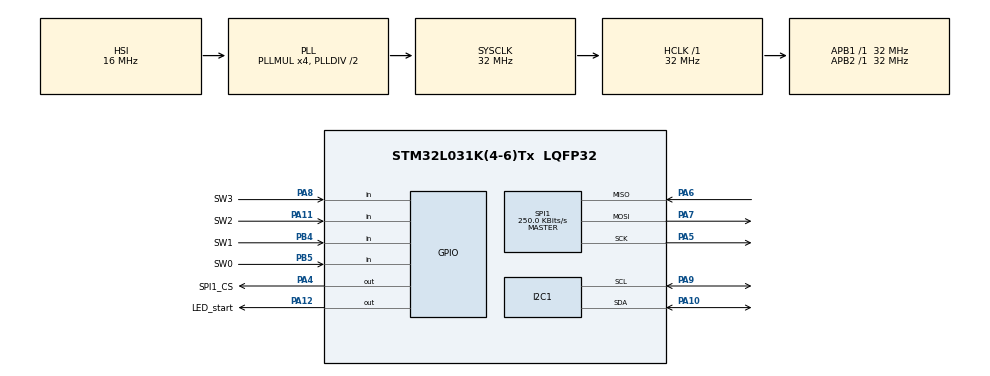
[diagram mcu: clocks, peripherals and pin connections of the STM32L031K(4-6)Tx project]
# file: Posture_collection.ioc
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I2C1.Timing=0x00B07CB4
Mcu.Family=STM32L0
Mcu.Name=STM32L031K(4-6)Tx
Mcu.Package=LQFP32
NVIC.TIM22_IRQn=true\:0\:0\:false\:false\:true\:true\:true\:true
PA10.Mode=I2C
PA10.Signal=I2C1_SDA
PA11.GPIO_Label=SW2
PA11.Signal=GPIO_Input
PA12.GPIO_Label=LED_start
PA12.GPIO_Speed=GPIO_SPEED_FREQ_MEDIUM
PA12.PinState=GPIO_PIN_RESET
PA12.Signal=GPIO_Output
PA13.Mode=Serial_Wire
PA13.Signal=SYS_SWDIO
PA14.Mode=Serial_Wire
PA14.Signal=SYS_SWCLK
PA4.GPIO_Label=SPI1_CS
PA4.GPIO_PuPd=GPIO_PULLUP
PA4.GPIO_Speed=GPIO_SPEED_FREQ_HIGH
PA4.PinState=GPIO_PIN_SET
PA4.Signal=GPIO_Output
PA5.Mode=Full_Duplex_Master
PA5.Signal=SPI1_SCK
PA6.Mode=Full_Duplex_Master
PA6.Signal=SPI1_MISO
PA7.Mode=Full_Duplex_Master
PA7.Signal=SPI1_MOSI
PA8.GPIO_Label=SW3
PA8.GPIO_PuPd=GPIO_NOPULL
PA8.Signal=GPIO_Input
PA9.Mode=I2C
PA9.Signal=I2C1_SCL
PB4.GPIO_Label=SW1
PB4.Signal=GPIO_Input
PB5.GPIO_Label=SW0
PB5.Signal=GPIO_Input
ProjectManager.HeapSize=0x200
ProjectManager.StackSize=0x400
ProjectManager.TargetToolchain=STM32CubeIDE
RCC.AHBFreq_Value=32000000
RCC.APB1Freq_Value=32000000
RCC.APB1TimFreq_Value=32000000
RCC.APB2Freq_Value=32000000
RCC.APB2TimFreq_Value=32000000
RCC.HCLKFreq_Value=32000000
RCC.HSE_VALUE=8000000
RCC.HSI16_VALUE=16000000
RCC.HSI_VALUE=16000000
RCC.LSE_VALUE=32768
RCC.MSI_VALUE=2097000
RCC.PLLMUL=RCC_PLLMUL_4
RCC.SYSCLKFreq_VALUE=32000000
RCC.SYSCLKSource=RCC_SYSCLKSOURCE_PLLCLK
RCC.VCOOutputFreq_Value=64000000
SPI1.BaudRatePrescaler=SPI_BAUDRATEPRESCALER_128
SPI1.CalculateBaudRate=250.0 KBits/s
SPI1.Direction=SPI_DIRECTION_2LINES
SPI1.Mode=SPI_MODE_MASTER
SPI1.VirtualType=VM_MASTER
TIM22.AutoReloadPreload=TIM_AUTORELOAD_PRELOAD_ENABLE
TIM22.Period=999
TIM22.Prescaler=3199
VP_FATFS_VS_Generic.Mode=User_defined
VP_TIM22_VS_ClockSourceINT.Mode=Internal
board=custom

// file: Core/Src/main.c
/* USER CODE BEGIN Header */
/**
  ******************************************************************************
  * @file           : main.c
  * @brief          : Main program body
  ******************************************************************************
  * @attention
  *
  * Copyright (c) 2026 STMicroelectronics.
  * All rights reserved.
  *
  * This software is licensed under terms that can be found in the LICENSE file
  * in the root directory of this software component.
  * If no LICENSE file comes with this software, it is provided AS-IS.
  *
  ******************************************************************************
  */
/* USER CODE END Header */
#include "main.h"
#include "fatfs.h"

/* USER CODE BEGIN Includes */
#include "MPU6050.h"
#include "state_control.h"
/* USER CODE END Includes */

/* USER CODE BEGIN PD */
#define BUFFER_SIZE 29 //timespand: 4, 2 MPU: 2*6*2, posture code: 1
/* USER CODE END PD */

I2C_HandleTypeDef hi2c1;

SPI_HandleTypeDef hspi1;

TIM_HandleTypeDef htim22;

/* USER CODE BEGIN PV */
//TODO: định nghĩa thêm các file cho các state (nên ghi ra state làm cái gì rồi code service)
//state INIT: init SD, init MPU, init tim22, init_state, memset buffer, LED_start OFF
//state START: Bật LED start
//state IDLE: đọc SW3 (đầu while rồi), chờ dataflag (Interrupt callback), đọc SW[2..0]
//state DATA: clear data_flag, đọc 2 MPU, packetnization
//state SD_write: ghi dữ liệu xuống file POSTURE.bin, packet count ++, nếu packet count >= 50 thì f_sync và packet_count = 0;
//state STOP: tắt LED_start, thực hiện close_file
system_state_t system_state;
system_input_t system_input;
MPU6050_Data_t mpu_low_data;
MPU6050_Data_t mpu_high_data;
uint8_t stop_done = 0;
uint8_t posture_code;
uint8_t sd_buffer[BUFFER_SIZE];
FATFS FatFs;
FIL fil;
UINT bytes_written = 0;
uint8_t packet_count = 0;
//STATE defined function
void system_init();
void start();
void idle();
void data();
void write_sd();
void stop();
//Service function
void reset_buffer(
    uint8_t *buffer,
    uint16_t buffer_size
);
void TIM22_Init_IT(void);
uint8_t init_sd(void);
uint8_t MPU_init(
    I2C_HandleTypeDef *hi2c
);
void read_2_MPU(
    I2C_HandleTypeDef *hi2c,
    MPU6050_Data_t *mpu_low,
    MPU6050_Data_t *mpu_high
);
void packetnization(
    uint8_t *buffer,
    MPU6050_Data_t *mpu_low,
    MPU6050_Data_t *mpu_high,
    uint8_t posture
);
uint8_t read_SW3();
uint8_t read_posture_sw(void);

/* USER CODE END PV */

void SystemClock_Config(void);
static void MX_GPIO_Init(void);
static void MX_I2C1_Init(void);
static void MX_SPI1_Init(void);
static void MX_TIM22_Init(void);

int main(void)
{

  /* MCU Configuration--------------------------------------------------------*/

  /* Reset of all peripherals, Initializes the Flash interface and the Systick. */
  HAL_Init();

  /* Configure the system clock */
  SystemClock_Config();

  /* Initialize all configured peripherals */
  MX_GPIO_Init();
  MX_I2C1_Init();
  MX_SPI1_Init();
  MX_TIM22_Init();
  MX_FATFS_Init();
  /* USER CODE BEGIN 2 */
  system_init();
  /* USER CODE END 2 */

  /* Infinite loop */
  /* USER CODE BEGIN WHILE */
  while (1)
  {
	 system_input.SW3 = read_SW3();
	 change_state(&system_state, &system_input);
	 switch(system_state)
	 	 {
	 	 	 case STATE_INIT:
	 	 		 break;
	 	 	 case STATE_START:
	 	 		 start();
	 	 		 break;
	 	 	 case STATE_IDLE:
	 	 		 idle();
	 	 		 break;
	 	 	 case STATE_DATA:
	 	 		 data();
	 	 		 break;
	 	 	 case STATE_WRITE_SD:
	 	 		 write_sd();
	 	 		 break;
	 	 	 case STATE_STOP:
	 	 		 stop();
	 	 		 break;
	 	 	 default: break;
	 	 }
    /* USER CODE END WHILE */

  }
}

void SystemClock_Config(void)
{
  RCC_OscInitTypeDef RCC_OscInitStruct = {0};
  RCC_ClkInitTypeDef RCC_ClkInitStruct = {0};
  RCC_PeriphCLKInitTypeDef PeriphClkInit = {0};

  /** Configure the main internal regulator output voltage
  */
  __HAL_PWR_VOLTAGESCALING_CONFIG(PWR_REGULATOR_VOLTAGE_SCALE1);

  /** Initializes the RCC Oscillators according to the specified parameters
  * in the RCC_OscInitTypeDef structure.
  */
  RCC_OscInitStruct.OscillatorType = RCC_OSCILLATORTYPE_HSI;
  RCC_OscInitStruct.HSIState = RCC_HSI_ON;
  RCC_OscInitStruct.HSICalibrationValue = RCC_HSICALIBRATION_DEFAULT;
  RCC_OscInitStruct.PLL.PLLState = RCC_PLL_ON;
  RCC_OscInitStruct.PLL.PLLSource = RCC_PLLSOURCE_HSI;
  RCC_OscInitStruct.PLL.PLLMUL = RCC_PLLMUL_4;
  RCC_OscInitStruct.PLL.PLLDIV = RCC_PLLDIV_2;
  if (HAL_RCC_OscConfig(&RCC_OscInitStruct) != HAL_OK)
  {
    Error_Handler();
  }

  /** Initializes the CPU, AHB and APB buses clocks
  */
  RCC_ClkInitStruct.ClockType = RCC_CLOCKTYPE_HCLK|RCC_CLOCKTYPE_SYSCLK
                              |RCC_CLOCKTYPE_PCLK1|RCC_CLOCKTYPE_PCLK2;
  RCC_ClkInitStruct.SYSCLKSource = RCC_SYSCLKSOURCE_PLLCLK;
  RCC_ClkInitStruct.AHBCLKDivider = RCC_SYSCLK_DIV1;
  RCC_ClkInitStruct.APB1CLKDivider = RCC_HCLK_DIV1;
  RCC_ClkInitStruct.APB2CLKDivider = RCC_HCLK_DIV1;

  if (HAL_RCC_ClockConfig(&RCC_ClkInitStruct, FLASH_LATENCY_1) != HAL_OK)
  {
    Error_Handler();
  }
  PeriphClkInit.PeriphClockSelection = RCC_PERIPHCLK_I2C1;
  PeriphClkInit.I2c1ClockSelection = RCC_I2C1CLKSOURCE_PCLK1;
  if (HAL_RCCEx_PeriphCLKConfig(&PeriphClkInit) != HAL_OK)
  {
    Error_Handler();
  }
}

static void MX_I2C1_Init(void)
{

  hi2c1.Instance = I2C1;
  hi2c1.Init.Timing = 0x00B07CB4;
  hi2c1.Init.OwnAddress1 = 0;
  hi2c1.Init.AddressingMode = I2C_ADDRESSINGMODE_7BIT;
  hi2c1.Init.DualAddressMode = I2C_DUALADDRESS_DISABLE;
  hi2c1.Init.OwnAddress2 = 0;
  hi2c1.Init.OwnAddress2Masks = I2C_OA2_NOMASK;
  hi2c1.Init.GeneralCallMode = I2C_GENERALCALL_DISABLE;
  hi2c1.Init.NoStretchMode = I2C_NOSTRETCH_DISABLE;
  if (HAL_I2C_Init(&hi2c1) != HAL_OK)
  {
    Error_Handler();
  }

  /** Configure Analogue filter
  */
  if (HAL_I2CEx_ConfigAnalogFilter(&hi2c1, I2C_ANALOGFILTER_ENABLE) != HAL_OK)
  {
    Error_Handler();
  }

  /** Configure Digital filter
  */
  if (HAL_I2CEx_ConfigDigitalFilter(&hi2c1, 0) != HAL_OK)
  {
    Error_Handler();
  }

}

static void MX_SPI1_Init(void)
{

  /* SPI1 parameter configuration*/
  hspi1.Instance = SPI1;
  hspi1.Init.Mode = SPI_MODE_MASTER;
  hspi1.Init.Direction = SPI_DIRECTION_2LINES;
  hspi1.Init.DataSize = SPI_DATASIZE_8BIT;
  hspi1.Init.CLKPolarity = SPI_POLARITY_LOW;
  hspi1.Init.CLKPhase = SPI_PHASE_1EDGE;
  hspi1.Init.NSS = SPI_NSS_SOFT;
  hspi1.Init.BaudRatePrescaler = SPI_BAUDRATEPRESCALER_128;
  hspi1.Init.FirstBit = SPI_FIRSTBIT_MSB;
  hspi1.Init.TIMode = SPI_TIMODE_DISABLE;
  hspi1.Init.CRCCalculation = SPI_CRCCALCULATION_DISABLE;
  hspi1.Init.CRCPolynomial = 7;
  if (HAL_SPI_Init(&hspi1) != HAL_OK)
  {
    Error_Handler();
  }

}

static void MX_TIM22_Init(void)
{

  TIM_ClockConfigTypeDef sClockSourceConfig = {0};
  TIM_MasterConfigTypeDef sMasterConfig = {0};

  htim22.Instance = TIM22;
  htim22.Init.Prescaler = 3199;
  htim22.Init.CounterMode = TIM_COUNTERMODE_UP;
  htim22.Init.Period = 999;
  htim22.Init.ClockDivision = TIM_CLOCKDIVISION_DIV1;
  htim22.Init.AutoReloadPreload = TIM_AUTORELOAD_PRELOAD_ENABLE;
  if (HAL_TIM_Base_Init(&htim22) != HAL_OK)
  {
    Error_Handler();
  }
  sClockSourceConfig.ClockSource = TIM_CLOCKSOURCE_INTERNAL;
  if (HAL_TIM_ConfigClockSource(&htim22, &sClockSourceConfig) != HAL_OK)
  {
    Error_Handler();
  }
  sMasterConfig.MasterOutputTrigger = TIM_TRGO_RESET;
  sMasterConfig.MasterSlaveMode = TIM_MASTERSLAVEMODE_DISABLE;
  if (HAL_TIMEx_MasterConfigSynchronization(&htim22, &sMasterConfig) != HAL_OK)
  {
    Error_Handler();
  }

}

static void MX_GPIO_Init(void)
{
  GPIO_InitTypeDef GPIO_InitStruct = {0};

  /* GPIO Ports Clock Enable */
  __HAL_RCC_GPIOA_CLK_ENABLE();
  __HAL_RCC_GPIOB_CLK_ENABLE();

  /*Configure GPIO pin Output Level */
  HAL_GPIO_WritePin(SPI1_CS_GPIO_Port, SPI1_CS_Pin, GPIO_PIN_SET);

  /*Configure GPIO pin Output Level */
  HAL_GPIO_WritePin(LED_start_GPIO_Port, LED_start_Pin, GPIO_PIN_RESET);

  /*Configure GPIO pin : SPI1_CS_Pin */
  GPIO_InitStruct.Pin = SPI1_CS_Pin;
  GPIO_InitStruct.Mode = GPIO_MODE_OUTPUT_PP;
  GPIO_InitStruct.Pull = GPIO_PULLUP;
  GPIO_InitStruct.Speed = GPIO_SPEED_FREQ_HIGH;
  HAL_GPIO_Init(SPI1_CS_GPIO_Port, &GPIO_InitStruct);

  /*Configure GPIO pins : SW3_Pin SW2_Pin */
  GPIO_InitStruct.Pin = SW3_Pin|SW2_Pin;
  GPIO_InitStruct.Mode = GPIO_MODE_INPUT;
  GPIO_InitStruct.Pull = GPIO_NOPULL;
  HAL_GPIO_Init(GPIOA, &GPIO_InitStruct);

  /*Configure GPIO pin : LED_start_Pin */
  GPIO_InitStruct.Pin = LED_start_Pin;
  GPIO_InitStruct.Mode = GPIO_MODE_OUTPUT_PP;
  GPIO_InitStruct.Pull = GPIO_NOPULL;
  GPIO_InitStruct.Speed = GPIO_SPEED_FREQ_MEDIUM;
  HAL_GPIO_Init(LED_start_GPIO_Port, &GPIO_InitStruct);

  /*Configure GPIO pins : SW1_Pin SW0_Pin */
  GPIO_InitStruct.Pin = SW1_Pin|SW0_Pin;
  GPIO_InitStruct.Mode = GPIO_MODE_INPUT;
  GPIO_InitStruct.Pull = GPIO_NOPULL;
  HAL_GPIO_Init(GPIOB, &GPIO_InitStruct);

}

/* USER CODE BEGIN 4 */

void system_init()
{
	init_sd();
	MPU_init(&hi2c1);
	TIM22_Init_IT();
	init_state(&system_state, &system_input);
	reset_buffer(sd_buffer, BUFFER_SIZE);
//	HAL_GPIO_WritePin(
//	    LED_start_GPIO_Port,
//	    LED_start_Pin,
//	    GPIO_PIN_RESET
//	);
	stop_done = 0;
}
void start()
{
	HAL_GPIO_WritePin(
		    LED_start_GPIO_Port,
		    LED_start_Pin,
		    GPIO_PIN_SET
		);
}
void idle()
{
	posture_code = read_posture_sw();
}
void data()
{
	if(system_input.data_flag)
		system_input.data_flag = 0;
	read_2_MPU(
	    &hi2c1,
	    &mpu_low_data,
	    &mpu_high_data
	);
	packetnization(
	    sd_buffer,
	    &mpu_low_data,
	    &mpu_high_data,
	    posture_code
	);
}
void write_sd()
{
    f_write(
        &fil,
        sd_buffer,
        BUFFER_SIZE,
        &bytes_written
    );
    packet_count++;
    if (packet_count >= 50)
    {
        f_sync(&fil);
        packet_count = 0;
    }
}
void stop()
{

    if (stop_done)
    {
        return;
    }

    stop_done = 1;

    HAL_GPIO_WritePin(
        LED_start_GPIO_Port,
        LED_start_Pin,
        GPIO_PIN_RESET
    );

    f_sync(&fil);

    f_close(&fil);

    f_mount(
        NULL,
        "",
        1
    );

    HAL_TIM_Base_Stop_IT(
        &htim22
    );
}
void reset_buffer(
    uint8_t *buffer,
    uint16_t buffer_size
)
{
    uint16_t i;

    for (
        i = 0;
        i < buffer_size;
        i++
    )
    {
        buffer[i] = 0;
    }
}
void TIM22_Init_IT(void)
{
    HAL_TIM_Base_Start_IT(
        &htim22
    );

    HAL_NVIC_SetPriority(
        TIM22_IRQn,
        0,
        0
    );

    HAL_NVIC_EnableIRQ(
        TIM22_IRQn
    );
}
uint8_t init_sd(void)
{
    FRESULT fres;

    HAL_Delay(1000);

    fres = f_mount(
        &FatFs,
        "/",
        1
    );

    if (fres != FR_OK)
    {
    	HAL_GPIO_WritePin(
    	        LED_start_GPIO_Port,
    	        LED_start_Pin,
    	        GPIO_PIN_SET
    	    );

    	return 0;
    }

    fres = f_open(
        &fil,
        "POSTURE.BIN",
        FA_WRITE |
        FA_OPEN_ALWAYS
    );

    if (fres != FR_OK)
    {
    	HAL_GPIO_WritePin(
    	    	        LED_start_GPIO_Port,
    	    	        LED_start_Pin,
    	    	        GPIO_PIN_SET
    	    	    );

    	return 0;
    }

    f_lseek(
        &fil,
        f_size(&fil)
    );

    return 1;
}
uint8_t MPU_init(
    I2C_HandleTypeDef *hi2c
)
{
    uint8_t low_status;
    uint8_t high_status;

    low_status = MPU6050_Init(
        hi2c
    );

    high_status = MPU6050_Init_High(
        hi2c
    );

    if (
        (low_status == 0) &&
        (high_status == 0)
    )
    {
        return 0;
    }

    return 1;
}
void read_2_MPU(
    I2C_HandleTypeDef *hi2c,
    MPU6050_Data_t *mpu_low,
    MPU6050_Data_t *mpu_high
)
{
    MPU6050_Read_Accel(
        hi2c,
        mpu_low
    );

    MPU6050_Read_Accel_High(
        hi2c,
        mpu_high
    );
}

void packetnization(
    uint8_t *buffer,
    MPU6050_Data_t *mpu_low,
    MPU6050_Data_t *mpu_high,
    uint8_t posture
)
{
    uint32_t timestamp;
    uint8_t index = 0;

    timestamp = HAL_GetTick();

    // Timestamp
    buffer[index++] = (timestamp >> 24) & 0xFF;
    buffer[index++] = (timestamp >> 16) & 0xFF;
    buffer[index++] = (timestamp >> 8) & 0xFF;
    buffer[index++] = timestamp & 0xFF;

    // MPU LOW
    buffer[index++] = (mpu_low->Accel_X >> 8) & 0xFF;
    buffer[index++] = mpu_low->Accel_X & 0xFF;

    buffer[index++] = (mpu_low->Accel_Y >> 8) & 0xFF;
    buffer[index++] = mpu_low->Accel_Y & 0xFF;

    buffer[index++] = (mpu_low->Accel_Z >> 8) & 0xFF;
    buffer[index++] = mpu_low->Accel_Z & 0xFF;

    buffer[index++] = (mpu_low->Gyro_X >> 8) & 0xFF;
    buffer[index++] = mpu_low->Gyro_X & 0xFF;

    buffer[index++] = (mpu_low->Gyro_Y >> 8) & 0xFF;
    buffer[index++] = mpu_low->Gyro_Y & 0xFF;

    buffer[index++] = (mpu_low->Gyro_Z >> 8) & 0xFF;
    buffer[index++] = mpu_low->Gyro_Z & 0xFF;

    // MPU HIGH
    buffer[index++] = (mpu_high->Accel_X >> 8) & 0xFF;
    buffer[index++] = mpu_high->Accel_X & 0xFF;

    buffer[index++] = (mpu_high->Accel_Y >> 8) & 0xFF;
    buffer[index++] = mpu_high->Accel_Y & 0xFF;

    buffer[index++] = (mpu_high->Accel_Z >> 8) & 0xFF;
    buffer[index++] = mpu_high->Accel_Z & 0xFF;

    buffer[index++] = (mpu_high->Gyro_X >> 8) & 0xFF;
    buffer[index++] = mpu_high->Gyro_X & 0xFF;

    buffer[index++] = (mpu_high->Gyro_Y >> 8) & 0xFF;
    buffer[index++] = mpu_high->Gyro_Y & 0xFF;

    buffer[index++] = (mpu_high->Gyro_Z >> 8) & 0xFF;
    buffer[index++] = mpu_high->Gyro_Z & 0xFF;

    // Posture
    buffer[index++] = posture;
}

uint8_t read_SW3(void)
{
    static uint8_t last_raw = 0;
    static uint8_t stable_state = 0;
    static uint8_t counter = 0;

    static uint32_t last_tick = 0;

    uint8_t raw;
    uint32_t now;

    now = HAL_GetTick();

    if ((now - last_tick) < 20)
    {
        return stable_state;
    }

    last_tick = now;

    raw = HAL_GPIO_ReadPin(
        SW3_GPIO_Port,
        SW3_Pin
    );

    if (raw == last_raw)
    {
        if (counter < 4)
        {
            counter++;
        }

        if (counter >= 4)
        {
            stable_state = raw;
        }
    }
    else
    {
        counter = 0;
    }

    last_raw = raw;

    return stable_state;
}
uint8_t read_posture_sw(void)
{
    uint8_t sw_value = 0;

    sw_value |= (
        HAL_GPIO_ReadPin(
            SW0_GPIO_Port,
            SW0_Pin
        ) << 0
    );

    sw_value |= (
        HAL_GPIO_ReadPin(
            SW1_GPIO_Port,
            SW1_Pin
        ) << 1
    );

    sw_value |= (
        HAL_GPIO_ReadPin(
            SW2_GPIO_Port,
            SW2_Pin
        ) << 2
    );

    return sw_value;
}
//Interrupt
void HAL_TIM_PeriodElapsedCallback(
    TIM_HandleTypeDef *htim
)
{
    if (htim->Instance == TIM22)
    {
        system_input.data_flag = 1;
    }
}
/* USER CODE END 4 */

void Error_Handler(void)
{
  __disable_irq();
  while (1)
  {
  }
}
